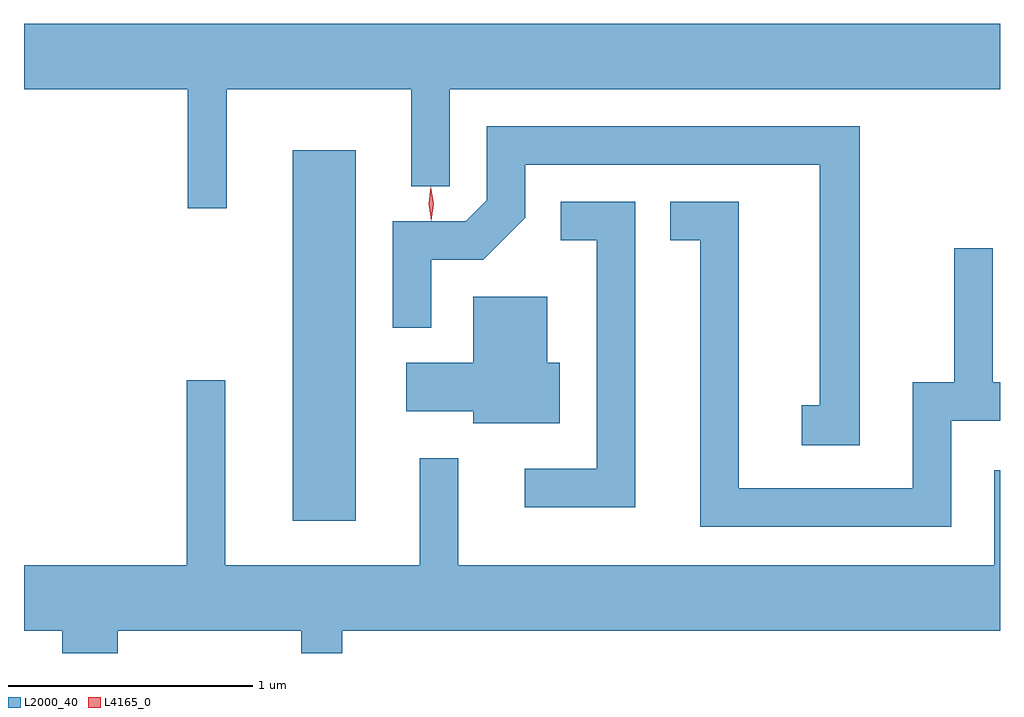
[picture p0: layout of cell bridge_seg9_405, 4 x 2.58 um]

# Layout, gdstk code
import gdstk
lib = gdstk.Library(unit=1e-6, precision=1e-09)
def R(c, l, rs):  # rectangles x0, y0, x1, y1
    for r in rs: c.add(gdstk.rectangle(r[:2], r[2:], *l))
def P(c, l, *ps):  # polygons
    for p in ps: c.add(gdstk.Polygon(p, *l))
L2000_40 = (2000, 40)
L4165_0 = (4165, 0)

bridge_seg9_405 = lib.new_cell('bridge_seg9_405')
R(bridge_seg9_405, L2000_40, [(517.526,2052.206,517.784,2053.724)])
P(bridge_seg9_405, L2000_40, [(517.254,2053.976),(518.011,2053.976),(518.011,2053.577),(518.169,2053.577),(518.169,2053.976),(520.424,2053.976),(520.424,2054.244),(516.424,2054.244),(516.424,2053.976),(517.096,2053.976),(517.096,2053.488),(517.254,2053.488)],
  [(519.849,2053.824),(518.321,2053.824),(518.321,2053.521),(518.234,2053.434),(517.936,2053.434),(517.936,2052.998),(518.094,2052.998),(518.094,2053.276),(518.307,2053.276),(518.479,2053.449),(518.479,2053.666),(519.686,2053.666),(519.686,2052.679),(519.612,2052.679),(519.612,2052.516),(519.849,2052.516)],
  [(520.224,2052.616),(520.424,2052.616),(520.424,2052.774),(520.394,2052.774),(520.394,2053.323),(520.236,2053.323),(520.236,2052.774),(520.066,2052.774),(520.066,2052.339),(519.354,2052.339),(519.354,2053.514),(519.073,2053.514),(519.073,2053.356),(519.196,2053.356),(519.196,2052.181),(520.224,2052.181)],
  [(518.929,2053.514),(518.623,2053.514),(518.623,2053.356),(518.771,2053.356),(518.771,2052.419),(518.477,2052.419),(518.477,2052.261),(518.929,2052.261)],
  [(518.619,2052.854),(518.569,2052.854),(518.569,2053.124),(518.266,2053.124),(518.266,2052.854),(517.991,2052.854),(517.991,2052.656),(518.266,2052.656),(518.266,2052.606),(518.619,2052.606)],
  [(516.809,2051.756),(517.561,2051.756),(517.561,2051.663),(517.729,2051.663),(517.729,2051.756),(520.424,2051.756),(520.424,2052.414),(520.401,2052.414),(520.401,2052.024),(518.204,2052.024),(518.204,2052.463),(518.046,2052.463),(518.046,2052.024),(517.249,2052.024),(517.249,2052.783),(517.091,2052.783),(517.091,2052.024),(516.424,2052.024),(516.424,2051.756),(516.581,2051.756),(516.581,2051.663),(516.809,2051.663)])
P(bridge_seg9_405, L4165_0, [(518.094,2053.437),(518.094,2053.437),(518.083,2053.506),(518.091,2053.575),(518.092,2053.576),(518.092,2053.575),(518.103,2053.506),(518.094,2053.437)],
  [(518.094,2053.439),(518.093,2053.44),(518.083,2053.506),(518.091,2053.572),(518.092,2053.572),(518.092,2053.572),(518.103,2053.506),(518.094,2053.44)])

lib.write_gds('bridge_seg9_405.gds')
